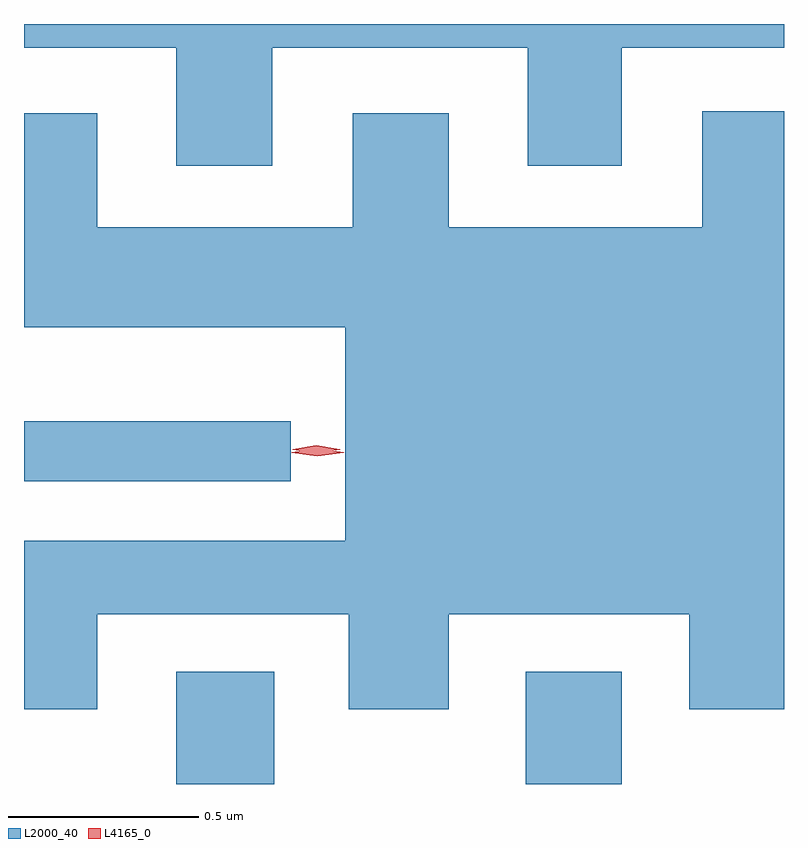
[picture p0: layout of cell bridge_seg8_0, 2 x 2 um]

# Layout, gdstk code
import gdstk
lib = gdstk.Library(unit=1e-6, precision=1e-09)
def R(c, l, rs):  # rectangles x0, y0, x1, y1
    for r in rs: c.add(gdstk.rectangle(r[:2], r[2:], *l))
def P(c, l, *ps):  # polygons
    for p in ps: c.add(gdstk.Polygon(p, *l))
L2000_40 = (2000, 40)
L4165_0 = (4165, 0)

bridge_seg8_0 = lib.new_cell('bridge_seg8_0')
R(bridge_seg8_0, L2000_40, [(1678.426,1934.379,1678.684,1934.674), (1679.346,1934.379,1679.599,1934.674), (1678.026,1935.176,1678.728,1935.334)])
P(bridge_seg8_0, L2000_40, [(1678.679,1936.316),(1679.351,1936.316),(1679.351,1936.006),(1679.599,1936.006),(1679.599,1936.316),(1680.026,1936.316),(1680.026,1936.379),(1678.026,1936.379),(1678.026,1936.316),(1678.426,1936.316),(1678.426,1936.006),(1678.679,1936.006)],
  [(1678.219,1934.826),(1678.881,1934.826),(1678.881,1934.576),(1679.144,1934.576),(1679.144,1934.826),(1679.776,1934.826),(1679.776,1934.576),(1680.026,1934.576),(1680.026,1936.149),(1679.811,1936.149),(1679.811,1935.844),(1679.144,1935.844),(1679.144,1936.144),(1678.891,1936.144),(1678.891,1935.844),(1678.219,1935.844),(1678.219,1936.144),(1678.026,1936.144),(1678.026,1935.581),(1678.871,1935.581),(1678.871,1935.019),(1678.026,1935.019),(1678.026,1934.576),(1678.219,1934.576)])
P(bridge_seg8_0, L4165_0, [(1678.798,1935.241),(1678.73,1935.251),(1678.73,1935.251),(1678.73,1935.252),(1678.799,1935.261),(1678.867,1935.252),(1678.868,1935.251),(1678.867,1935.251)],
  [(1678.795,1935.25),(1678.733,1935.259),(1678.733,1935.259),(1678.733,1935.26),(1678.795,1935.27),(1678.857,1935.26),(1678.858,1935.26),(1678.857,1935.259)])

lib.write_gds('bridge_seg8_0.gds')
